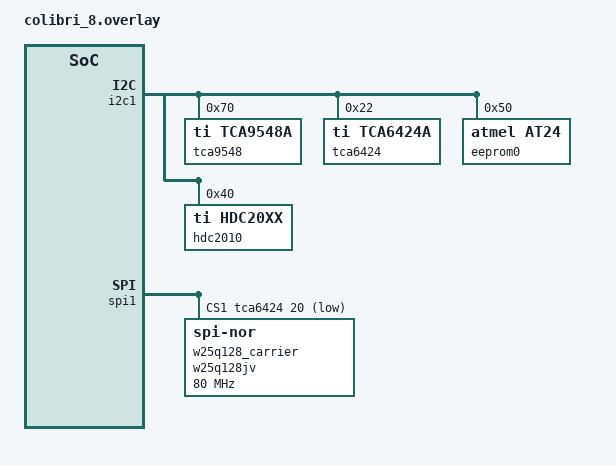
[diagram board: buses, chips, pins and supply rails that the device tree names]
#include <zephyr/dt-bindings/gpio/gpio.h>

&i2c1 {
	status = "okay";

	/* I2C Multiplexer */
	tca9548: tca9548a@70 {
		compatible = "ti,tca9548a";
		reg = <0x70>;
		#address-cells = <1>;
		#size-cells = <0>;
		status = "okay";

		i2c_chan0: i2c@0 {
			reg = <0>;
			#address-cells = <1>;
			#size-cells = <0>;
		};
	};

	/* I/O Expander */
	tca6424: tca6424@22 {
		compatible = "ti,tca6424a";
		reg = <0x22>;
		gpio-controller;
		#gpio-cells = <2>;
		status = "okay";
	};

	/* M24M01 EEPROM (1Mbit) */
	eeprom0: m24m01@50 {
		compatible = "atmel,at24";
		reg = <0x50>;
		size = <131072>;
		pagesize = <256>;
		address-width = <16>;
		timeout = <5>;
		status = "okay";
	};

	/* Texas Instruments HDC2010 temperature/humidity sensor.
	 * 7-bit I2C address 0x40 (ADDR pin tied low) — adjust to 0x41 if ADDR is high.
	 */
	hdc2010: hdc2010@40 {
		compatible = "ti,hdc20xx";
		reg = <0x40>;
		status = "okay";
	};
};

&spi1 {
	status = "okay";
	/* PB2 is index 0 (Onboard Flash), TCA6424 P20 is index 1 */
	cs-gpios = <&gpiob 2 GPIO_ACTIVE_LOW>,
			   <&tca6424 20 GPIO_ACTIVE_LOW>;

	/* Carrier Board Flash */
	w25q128_carrier: w25q128jv@1 {
		compatible = "jedec,spi-nor";
		reg = <1>;
		spi-max-frequency = <80000000>;
		size = <0x8000000>;
		jedec-id = [ef 40 18];
		status = "okay";
	};
};

/* The Colibri 8 has 8 WS2812s. */
&led_strip {
	chain-length = <8>;
};
